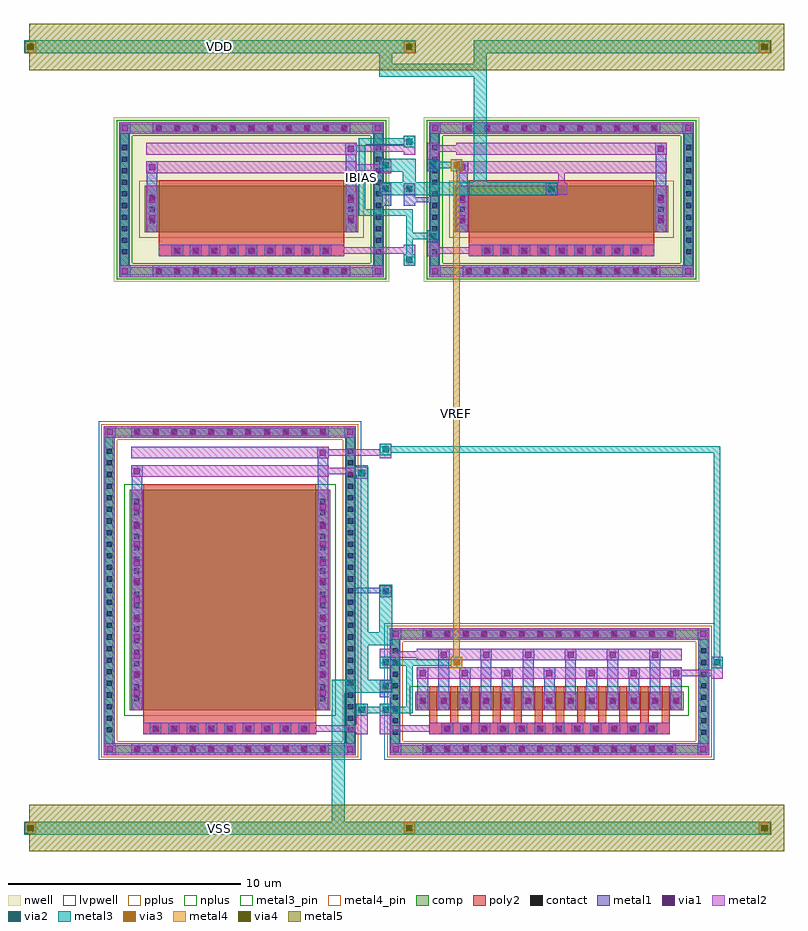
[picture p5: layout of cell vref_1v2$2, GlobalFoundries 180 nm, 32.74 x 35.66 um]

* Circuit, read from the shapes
.subckt vref_1v2$2 IBIAS VDD VREF VSS
XM1 n1 VREF VSS VSS nfet_03v3 w=9.5u l=7.45u
XM2 VREF VREF n1 VSS nfet_03v3 w=0.8u l=0.35u m=12
XM3 IBIAS IBIAS VDD VDD pfet_03v3 w=2u l=8u
XM4 VREF IBIAS VDD VDD pfet_03v3 w=2u l=8u
.ends

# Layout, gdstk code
import gdstk
lib = gdstk.Library(unit=1e-6, precision=1e-09)
def R(c, l, rs):  # rectangles x0, y0, x1, y1
    for r in rs: c.add(gdstk.rectangle(r[:2], r[2:], *l))
def A(c, l, x, y, w, h, nx, ny, dx, dy):  # array of equal rectangles
    R(c, l, [(x+i*dx, y+j*dy, x+i*dx+w, y+j*dy+h) for i in range(nx) for j in range(ny)])
def P(c, l, *ps):  # polygons
    for p in ps: c.add(gdstk.Polygon(p, *l))
nwell = (21, 0)
comp = (22, 0)
poly2 = (30, 0)
pplus = (31, 0)
nplus = (32, 0)
contact = (33, 0)
metal1 = (34, 0)
via1 = (35, 0)
metal2 = (36, 0)
via2 = (38, 0)
via3 = (40, 0)
via4 = (41, 0)
metal3 = (42, 0)
metal3_pin = (42, 10)
metal4 = (46, 0)
metal4_pin = (46, 10)
metal5 = (81, 0)
lvpwell = (204, 0)

vref_1v2_2 = lib.new_cell('vref_1v2$2')
R(vref_1v2_2, nwell, [(-12.61,20.59,-0.75,27.68), (0.75,20.59,12.61,27.68)])
A(vref_1v2_2, comp, -11.79, 0.28, 0.36, 0.36, 11, 2, 0.8, 13.67)
A(vref_1v2_2, comp, 0.775, 0.28, 0.36, 0.36, 14, 2, 0.8, 4.97)
A(vref_1v2_2, comp, -0.675, 1.015, 0.36, 0.36, 1, 8, 0, 0.5)
A(vref_1v2_2, comp, 12.625, 1.015, 0.36, 0.36, 1, 8, 0, 0.5)
A(vref_1v2_2, comp, -12.985, 1.115, 0.36, 0.36, 1, 25, 0, 0.5)
A(vref_1v2_2, comp, -2.595, 1.115, 0.36, 0.36, 1, 25, 0, 0.5)
A(vref_1v2_2, comp, -10.86, 20.87, 0.36, 0.36, 11, 2, 0.8, 6.17)
A(vref_1v2_2, comp, 2.5, 20.87, 0.36, 0.36, 11, 2, 0.8, 6.17)
A(vref_1v2_2, comp, -12.33, 21.705, 0.36, 0.36, 1, 10, 0, 0.5)
A(vref_1v2_2, comp, -1.39, 21.705, 0.36, 0.36, 1, 10, 0, 0.5)
A(vref_1v2_2, comp, 1.03, 21.705, 0.36, 0.36, 1, 10, 0, 0.5)
A(vref_1v2_2, comp, 11.97, 21.705, 0.36, 0.36, 1, 10, 0, 0.5)
R(vref_1v2_2, comp, [(-11.79,0.28,-3.43,0.64), (0.775,0.28,11.535,0.64), (-0.675,1.015,-0.315,4.875), (12.625,1.015,12.985,4.875), (-12.985,1.115,-12.625,13.475), (-2.595,1.115,-2.235,13.475), (-11.935,2.14,-3.285,11.64), (0.375,2.14,11.935,2.94), (0.775,5.25,11.535,5.61), (-11.79,13.95,-3.43,14.31), (-10.86,20.87,-2.5,21.23), (2.5,20.87,10.86,21.23), (-12.33,21.705,-11.97,26.565), (-1.39,21.705,-1.03,26.565), (1.03,21.705,1.39,26.565), (11.97,21.705,12.33,26.565), (-11.28,22.73,-2.08,24.73), (2.08,22.73,11.28,24.73), (-10.86,27.04,-2.5,27.4), (2.5,27.04,10.86,27.4)])
P(vref_1v2_2, comp, [(-12.33,20.87),(-12.33,21.23),(-1.39,21.23),(-1.39,27.04),(-11.97,27.04),(-11.97,21.23),(-12.33,21.23),(-12.33,27.4),(-1.03,27.4),(-1.03,20.87)],
  [(-12.985,0.28),(-12.985,0.64),(-2.595,0.64),(-2.595,13.95),(-12.625,13.95),(-12.625,0.64),(-12.985,0.64),(-12.985,14.31),(-2.235,14.31),(-2.235,0.28)],
  [(-0.675,0.28),(-0.675,0.64),(12.625,0.64),(12.625,5.25),(-0.315,5.25),(-0.315,0.64),(-0.675,0.64),(-0.675,5.61),(12.985,5.61),(12.985,0.28)],
  [(1.03,20.87),(1.03,21.23),(11.97,21.23),(11.97,27.04),(1.39,27.04),(1.39,21.23),(1.03,21.23),(1.03,27.4),(12.33,27.4),(12.33,20.87)])
A(vref_1v2_2, poly2, -10.99, 1.17, 0.36, 0.36, 9, 1, 0.8, 0)
A(vref_1v2_2, poly2, 1.575, 1.17, 0.36, 0.36, 12, 1, 0.8, 0)
A(vref_1v2_2, poly2, 0.975, 1.6, 0.35, 0.3, 12, 1, 0.91, 0)
A(vref_1v2_2, poly2, 0.975, 1.9, 0.35, 1.28, 12, 1, 0.91, 0)
A(vref_1v2_2, poly2, -10.06, 21.76, 0.36, 0.36, 9, 1, 0.8, 0)
A(vref_1v2_2, poly2, 3.3, 21.76, 0.36, 0.36, 9, 1, 0.8, 0)
R(vref_1v2_2, poly2, [(-11.335,1.1,-3.885,1.6), (0.975,1.1,11.335,1.6), (-11.335,1.6,-3.885,1.9), (-11.335,1.9,-3.885,11.88), (-10.68,21.69,-2.68,22.19), (2.68,21.69,10.68,22.19), (-10.68,22.19,-2.68,22.49), (2.68,22.19,10.68,22.49), (-10.68,22.49,-2.68,24.97), (2.68,22.49,10.68,24.97)])
R(vref_1v2_2, pplus, [(-11.51,22.5,-1.85,24.96), (1.85,22.5,11.51,24.96)])
P(vref_1v2_2, pplus, [(-13.145,0.12),(-13.145,0.8),(-2.755,0.8),(-2.755,13.79),(-12.465,13.79),(-12.465,0.8),(-13.145,0.8),(-13.145,14.47),(-2.075,14.47),(-2.075,0.12)],
  [(-0.835,0.12),(-0.835,0.8),(12.465,0.8),(12.465,5.09),(-0.155,5.09),(-0.155,0.8),(-0.835,0.8),(-0.835,5.77),(13.145,5.77),(13.145,0.12)])
R(vref_1v2_2, nplus, [(-12.165,1.91,-3.055,11.87), (0.145,1.91,12.165,3.17)])
P(vref_1v2_2, nplus, [(-12.49,20.71),(-12.49,21.39),(-1.55,21.39),(-1.55,26.88),(-11.81,26.88),(-11.81,21.39),(-12.49,21.39),(-12.49,27.56),(-0.87,27.56),(-0.87,20.71)],
  [(0.87,20.71),(0.87,21.39),(11.81,21.39),(11.81,26.88),(1.55,26.88),(1.55,21.39),(0.87,21.39),(0.87,27.56),(12.49,27.56),(12.49,20.71)])
A(vref_1v2_2, contact, -11.72, 0.35, 0.22, 0.22, 11, 2, 0.8, 13.67)
A(vref_1v2_2, contact, 0.845, 0.35, 0.22, 0.22, 14, 2, 0.8, 4.97)
A(vref_1v2_2, contact, -0.605, 1.085, 0.22, 0.22, 1, 8, 0, 0.5)
A(vref_1v2_2, contact, 12.695, 1.085, 0.22, 0.22, 1, 8, 0, 0.5)
A(vref_1v2_2, contact, -12.915, 1.185, 0.22, 0.22, 1, 25, 0, 0.5)
A(vref_1v2_2, contact, -2.525, 1.185, 0.22, 0.22, 1, 25, 0, 0.5)
A(vref_1v2_2, contact, -10.92, 1.24, 0.22, 0.22, 9, 1, 0.8, 0)
A(vref_1v2_2, contact, 1.645, 1.24, 0.22, 0.22, 12, 1, 0.8, 0)
A(vref_1v2_2, contact, 0.585, 2.43, 0.22, 0.22, 13, 1, 0.91, 0)
A(vref_1v2_2, contact, -11.725, 2.53, 0.22, 0.22, 1, 18, 0, 0.5)
A(vref_1v2_2, contact, -3.715, 2.53, 0.22, 0.22, 1, 18, 0, 0.5)
A(vref_1v2_2, contact, -10.79, 20.94, 0.22, 0.22, 11, 2, 0.8, 6.17)
A(vref_1v2_2, contact, 2.57, 20.94, 0.22, 0.22, 11, 2, 0.8, 6.17)
A(vref_1v2_2, contact, -12.26, 21.775, 0.22, 0.22, 1, 10, 0, 0.5)
A(vref_1v2_2, contact, -1.32, 21.775, 0.22, 0.22, 1, 10, 0, 0.5)
A(vref_1v2_2, contact, 1.1, 21.775, 0.22, 0.22, 1, 10, 0, 0.5)
A(vref_1v2_2, contact, 12.04, 21.775, 0.22, 0.22, 1, 10, 0, 0.5)
A(vref_1v2_2, contact, -9.99, 21.83, 0.22, 0.22, 9, 1, 0.8, 0)
A(vref_1v2_2, contact, 3.37, 21.83, 0.22, 0.22, 9, 1, 0.8, 0)
A(vref_1v2_2, contact, -11.07, 23.12, 0.22, 0.22, 1, 3, 0, 0.5)
A(vref_1v2_2, contact, -2.51, 23.12, 0.22, 0.22, 1, 3, 0, 0.5)
A(vref_1v2_2, contact, 2.29, 23.12, 0.22, 0.22, 1, 3, 0, 0.5)
A(vref_1v2_2, contact, 10.85, 23.12, 0.22, 0.22, 1, 3, 0, 0.5)
A(vref_1v2_2, metal1, -11.86, 0.21, 0.5, 0.5, 11, 2, 0.8, 13.67)
A(vref_1v2_2, metal1, 0.705, 0.21, 0.5, 0.5, 14, 2, 0.8, 4.97)
A(vref_1v2_2, metal1, -0.725, 0.965, 0.46, 0.46, 1, 8, 0, 0.5)
A(vref_1v2_2, metal1, 12.575, 0.965, 0.46, 0.46, 1, 8, 0, 0.5)
A(vref_1v2_2, metal1, -13.035, 1.065, 0.46, 0.46, 1, 25, 0, 0.5)
A(vref_1v2_2, metal1, -2.645, 1.065, 0.46, 0.46, 1, 25, 0, 0.5)
A(vref_1v2_2, metal1, -11.06, 1.1, 0.5, 0.5, 9, 1, 0.8, 0)
A(vref_1v2_2, metal1, 1.505, 1.1, 0.5, 0.5, 12, 1, 0.8, 0)
A(vref_1v2_2, metal1, 0.465, 2.14, 0.46, 0.8, 13, 1, 0.91, 0)
A(vref_1v2_2, metal1, 0.465, 2.31, 0.46, 0.46, 13, 1, 0.91, 0)
A(vref_1v2_2, metal1, -11.845, 2.41, 0.46, 0.46, 1, 18, 0, 0.5)
A(vref_1v2_2, metal1, -3.835, 2.41, 0.46, 0.46, 1, 18, 0, 0.5)
A(vref_1v2_2, metal1, -11.865, 2.64, 0.5, 0.5, 1, 11, 0, 0.8)
A(vref_1v2_2, metal1, -3.855, 2.64, 0.5, 0.5, 1, 11, 0, 0.8)
A(vref_1v2_2, metal1, 0.465, 2.94, 0.46, 1.05, 7, 1, 1.82, 0)
A(vref_1v2_2, metal1, 1.375, 2.94, 0.46, 1.85, 6, 1, 1.82, 0)
A(vref_1v2_2, metal1, 0.445, 3.49, 0.5, 0.5, 7, 1, 1.82, 0)
A(vref_1v2_2, metal1, 1.355, 4.29, 0.5, 0.5, 6, 1, 1.82, 0)
A(vref_1v2_2, metal1, -10.93, 20.8, 0.5, 0.5, 11, 2, 0.8, 6.17)
A(vref_1v2_2, metal1, 2.43, 20.8, 0.5, 0.5, 11, 2, 0.8, 6.17)
A(vref_1v2_2, metal1, -12.38, 21.655, 0.46, 0.46, 1, 10, 0, 0.5)
A(vref_1v2_2, metal1, -1.44, 21.655, 0.46, 0.46, 1, 10, 0, 0.5)
A(vref_1v2_2, metal1, 0.98, 21.655, 0.46, 0.46, 1, 10, 0, 0.5)
A(vref_1v2_2, metal1, 11.92, 21.655, 0.46, 0.46, 1, 10, 0, 0.5)
A(vref_1v2_2, metal1, -10.13, 21.69, 0.5, 0.5, 9, 1, 0.8, 0)
A(vref_1v2_2, metal1, 3.23, 21.69, 0.5, 0.5, 9, 1, 0.8, 0)
A(vref_1v2_2, metal1, -11.19, 23, 0.46, 0.46, 1, 3, 0, 0.5)
A(vref_1v2_2, metal1, -2.63, 23, 0.46, 0.46, 1, 3, 0, 0.5)
A(vref_1v2_2, metal1, 2.17, 23, 0.46, 0.46, 1, 3, 0, 0.5)
A(vref_1v2_2, metal1, 10.73, 23, 0.46, 0.46, 1, 3, 0, 0.5)
R(vref_1v2_2, metal1, [(-13.035,0.21,-12.535,0.71), (-13.035,0.21,-12.535,0.71), (-13.035,0.21,-12.575,0.64), (-11.86,0.21,-3.36,0.71), (-2.685,0.21,-2.185,0.71), (-2.685,0.21,-2.185,0.71), (-2.645,0.21,-2.185,0.64), (-0.725,0.21,-0.225,0.71), (-0.725,0.21,-0.225,0.71), (-0.725,0.21,-0.265,0.64), (0.705,0.21,11.605,0.71), (12.535,0.21,13.035,0.71), (12.535,0.21,13.035,0.71), (12.575,0.21,13.035,0.64), (-13.035,0.64,-12.575,13.95), (-2.645,0.64,-2.185,13.95), (-0.725,0.64,-0.265,5.25), (12.575,0.64,13.035,5.25), (-11.845,2.14,-11.385,11.64), (-3.835,2.14,-3.375,11.64), (0.445,2.29,0.945,2.79), (0.445,2.29,0.945,2.79), (1.355,2.29,1.855,2.79), (1.355,2.29,1.855,2.79), (2.265,2.29,2.765,2.79), (2.265,2.29,2.765,2.79), (3.175,2.29,3.675,2.79), (3.175,2.29,3.675,2.79), (4.085,2.29,4.585,2.79), (4.085,2.29,4.585,2.79), (4.995,2.29,5.495,2.79), (4.995,2.29,5.495,2.79), (5.905,2.29,6.405,2.79), (5.905,2.29,6.405,2.79), (6.815,2.29,7.315,2.79), (6.815,2.29,7.315,2.79), (7.725,2.29,8.225,2.79), (7.725,2.29,8.225,2.79), (8.635,2.29,9.135,2.79), (8.635,2.29,9.135,2.79), (9.545,2.29,10.045,2.79), (9.545,2.29,10.045,2.79), (10.455,2.29,10.955,2.79), (10.455,2.29,10.955,2.79), (11.365,2.29,11.865,2.79), (11.365,2.29,11.865,2.79), (-0.725,2.425,-0.65,2.69), (-11.865,2.64,-11.365,11.14), (-3.855,2.64,-3.355,11.14), (-1.15,2.69,-0.65,3.43), (-1.015,2.825,-0.605,3.055), (-1.15,2.93,-0.65,3.43), (-0.725,3.43,-0.65,3.465), (-0.725,5.18,-0.225,5.68), (-0.725,5.18,-0.225,5.68), (0.705,5.18,11.605,5.68), (12.535,5.18,13.035,5.68), (12.535,5.18,13.035,5.68), (-0.725,5.25,-0.265,5.68), (12.575,5.25,13.035,5.68), (-1.15,7.01,-0.65,7.51), (-1.15,7.01,-0.65,7.55), (-2.305,7.025,-2.185,7.185), (-2.305,7.185,-0.785,7.415), (-2.305,7.415,-2.185,7.565), (-11.845,11.64,-11.385,12.69), (-3.835,11.64,-3.375,13.49), (-11.865,12.19,-11.365,12.69), (-3.855,12.99,-3.355,13.49), (-13.035,13.88,-12.535,14.38), (-13.035,13.88,-12.535,14.38), (-11.86,13.88,-3.36,14.38), (-2.685,13.88,-2.185,14.38), (-2.685,13.88,-2.185,14.38), (-13.035,13.95,-12.575,14.38), (-2.645,13.95,-2.185,14.38), (-12.38,20.8,-11.88,21.3), (-12.38,20.8,-11.88,21.3), (-12.38,20.8,-11.92,21.23), (-10.93,20.8,-2.43,21.3), (-1.48,20.8,-0.98,21.3), (-1.48,20.8,-0.98,21.3), (-1.44,20.8,-0.98,21.23), (0.98,20.8,1.48,21.3), (0.98,20.8,1.48,21.3), (0.98,20.8,1.44,21.23), (2.43,20.8,10.93,21.3), (11.88,20.8,12.38,21.3), (11.88,20.8,12.38,21.3), (11.92,20.8,12.38,21.23), (-12.38,21.23,-11.92,27.04), (-1.44,21.23,-0.98,27.04), (0.98,21.23,1.44,27.04), (11.92,21.23,12.38,27.04), (-11.19,22.73,-10.73,24.73), (-2.63,22.73,-2.17,24.73), (2.17,22.73,2.63,24.73), (10.73,22.73,11.19,24.73), (-11.21,23.08,-10.71,23.58), (-11.21,23.08,-10.71,24.38), (-2.65,23.08,-2.15,23.58), (-2.65,23.08,-2.15,24.38), (2.15,23.08,2.65,23.58), (2.15,23.08,2.65,24.38), (10.71,23.08,11.21,23.58), (10.71,23.08,11.21,24.38), (-1.15,23.615,-0.98,23.88), (-11.21,23.88,-10.71,24.38), (-2.65,23.88,-2.15,24.38), (-1.15,23.88,-0.65,24.85), (-0.13,23.88,0.37,24.85), (2.15,23.88,2.65,24.38), (10.71,23.88,11.21,24.38), (-1.095,24.015,-0.785,24.245), (0.005,24.015,1.095,24.245), (-1.15,24.35,-0.65,24.85), (-0.13,24.35,0.37,24.85), (-11.19,24.73,-10.73,25.78), (-2.63,24.73,-2.17,26.58), (2.17,24.73,2.63,25.78), (10.73,24.73,11.19,26.58), (-11.21,25.28,-10.71,25.78), (2.15,25.28,2.65,25.78), (-2.65,26.08,-2.15,26.58), (10.71,26.08,11.21,26.58), (-12.38,26.97,-11.88,27.47), (-12.38,26.97,-11.88,27.47), (-10.93,26.97,-2.43,27.47), (-1.48,26.97,-0.98,27.47), (-1.48,26.97,-0.98,27.47), (0.98,26.97,1.48,27.47), (0.98,26.97,1.48,27.47), (2.43,26.97,10.93,27.47), (11.88,26.97,12.38,27.47), (11.88,26.97,12.38,27.47), (-12.38,27.04,-11.92,27.47), (-1.44,27.04,-0.98,27.47), (0.98,27.04,1.44,27.47), (11.92,27.04,12.38,27.47)])
A(vref_1v2_2, via1, -11.74, 0.33, 0.26, 0.26, 11, 2, 0.8, 13.67)
A(vref_1v2_2, via1, 0.825, 0.33, 0.26, 0.26, 14, 2, 0.8, 4.97)
A(vref_1v2_2, via1, -10.94, 1.22, 0.26, 0.26, 9, 1, 0.8, 0)
A(vref_1v2_2, via1, 1.625, 1.22, 0.26, 0.26, 12, 1, 0.8, 0)
A(vref_1v2_2, via1, 0.565, 2.41, 0.26, 0.26, 13, 1, 0.91, 0)
A(vref_1v2_2, via1, -11.745, 2.76, 0.26, 0.26, 1, 11, 0, 0.8)
A(vref_1v2_2, via1, -3.735, 2.76, 0.26, 0.26, 1, 11, 0, 0.8)
A(vref_1v2_2, via1, 0.565, 3.61, 0.26, 0.26, 7, 1, 1.82, 0)
A(vref_1v2_2, via1, 1.475, 4.41, 0.26, 0.26, 6, 1, 1.82, 0)
A(vref_1v2_2, via1, -10.81, 20.92, 0.26, 0.26, 11, 2, 0.8, 6.17)
A(vref_1v2_2, via1, 2.55, 20.92, 0.26, 0.26, 11, 2, 0.8, 6.17)
A(vref_1v2_2, via1, -10.01, 21.81, 0.26, 0.26, 9, 1, 0.8, 0)
A(vref_1v2_2, via1, 3.35, 21.81, 0.26, 0.26, 9, 1, 0.8, 0)
R(vref_1v2_2, via1, [(-12.915,0.33,-12.655,0.59), (-2.565,0.33,-2.305,0.59), (-0.605,0.33,-0.345,0.59), (12.655,0.33,12.915,0.59), (-1.03,3.05,-0.77,3.31), (-0.605,5.3,-0.345,5.56), (12.655,5.3,12.915,5.56), (-1.03,7.13,-0.77,7.39), (-11.745,12.31,-11.485,12.57), (-3.735,13.11,-3.475,13.37), (-12.915,14,-12.655,14.26), (-2.565,14,-2.305,14.26), (-12.26,20.92,-12,21.18), (-1.36,20.92,-1.1,21.18), (1.1,20.92,1.36,21.18), (12,20.92,12.26,21.18), (-11.09,23.2,-10.83,23.46), (-2.53,23.2,-2.27,23.46), (2.27,23.2,2.53,23.46), (10.83,23.2,11.09,23.46), (-11.09,24,-10.83,24.26), (-2.53,24,-2.27,24.26), (2.27,24,2.53,24.26), (10.83,24,11.09,24.26), (-1.03,24.47,-0.77,24.73), (-0.01,24.47,0.25,24.73), (-11.09,25.4,-10.83,25.66), (2.27,25.4,2.53,25.66), (-2.53,26.2,-2.27,26.46), (10.83,26.2,11.09,26.46), (-12.26,27.09,-12,27.35), (-1.36,27.09,-1.1,27.35), (1.1,27.09,1.36,27.35), (12,27.09,12.26,27.35)])
A(vref_1v2_2, metal2, -11.86, 0.21, 0.5, 0.5, 11, 2, 0.8, 13.67)
A(vref_1v2_2, metal2, 0.705, 0.21, 0.5, 0.5, 14, 2, 0.8, 4.97)
A(vref_1v2_2, metal2, -11.06, 1.1, 0.5, 0.5, 9, 1, 0.8, 0)
A(vref_1v2_2, metal2, 1.505, 1.1, 0.5, 0.5, 12, 1, 0.8, 0)
A(vref_1v2_2, metal2, -1.15, 1.91, 0.5, 0.5, 1, 3, 0, 1.02)
A(vref_1v2_2, metal2, 0.445, 2.14, 0.5, 0.8, 13, 1, 0.91, 0)
A(vref_1v2_2, metal2, 0.445, 2.29, 0.5, 0.5, 13, 1, 0.91, 0)
A(vref_1v2_2, metal2, -11.865, 2.64, 0.5, 0.5, 1, 11, 0, 0.8)
A(vref_1v2_2, metal2, -3.855, 2.64, 0.5, 0.5, 1, 11, 0, 0.8)
A(vref_1v2_2, metal2, 0.445, 3.49, 0.5, 0.5, 7, 1, 1.82, 0)
A(vref_1v2_2, metal2, 1.355, 4.29, 0.5, 0.5, 6, 1, 1.82, 0)
A(vref_1v2_2, metal2, -10.93, 20.8, 0.5, 0.5, 11, 2, 0.8, 6.17)
A(vref_1v2_2, metal2, 2.43, 20.8, 0.5, 0.5, 11, 2, 0.8, 6.17)
A(vref_1v2_2, metal2, -10.13, 21.69, 0.5, 0.5, 9, 1, 0.8, 0)
A(vref_1v2_2, metal2, 3.23, 21.69, 0.5, 0.5, 9, 1, 0.8, 0)
R(vref_1v2_2, metal2, [(-13.035,0.21,-12.535,0.71), (-13.035,0.21,-12.535,0.71), (-13.035,0.21,-12.625,0.71), (-12.625,0.21,-2.595,0.71), (-2.685,0.21,-2.185,0.71), (-2.685,0.21,-2.185,0.71), (-2.595,0.21,-2.185,0.71), (-0.725,0.21,-0.225,0.71), (-0.725,0.21,-0.225,0.71), (-0.725,0.21,-0.315,0.71), (-0.315,0.21,12.625,0.71), (12.535,0.21,13.035,0.71), (12.535,0.21,13.035,0.71), (12.625,0.21,13.035,0.71), (-11.335,1.1,-3.885,1.6), (-2.17,1.1,-1.67,2.41), (-1.15,1.1,-0.65,2.41), (0.975,1.1,11.335,1.6), (-4.16,1.21,-4.02,1.49), (-4.02,1.21,-1.78,1.49), (-1.04,1.21,1.12,1.49), (-2.17,1.91,-1.67,2.41), (-11.865,2.14,-11.365,11.64), (-3.855,2.14,-3.355,11.64), (0.445,3.49,11.865,3.99), (13.13,3.49,13.63,4.45), (11.72,3.6,13.52,3.88), (-1.15,3.95,-0.65,4.79), (13.13,3.95,13.63,4.45), (0.445,4.29,11.865,4.79), (-1.04,4.4,0.59,4.68), (-0.725,5.18,-0.225,5.68), (-0.725,5.18,-0.225,5.68), (-0.725,5.18,-0.315,5.68), (-0.315,5.18,12.625,5.68), (12.535,5.18,13.035,5.68), (12.535,5.18,13.035,5.68), (12.625,5.18,13.035,5.68), (-1.15,7.01,-0.65,7.51), (-2.17,12.11,-1.67,12.61), (-2.17,12.11,-1.67,12.69), (-11.865,12.19,-11.365,12.69), (-11.865,12.19,-3.355,12.69), (-3.5,12.3,-1.78,12.58), (-11.865,12.99,-3.355,13.49), (-3.855,12.99,-3.355,13.49), (-1.15,12.99,-0.65,13.63), (-3.5,13.1,-0.76,13.38), (-1.15,13.13,-0.65,13.63), (-13.035,13.88,-12.535,14.38), (-13.035,13.88,-12.535,14.38), (-13.035,13.88,-12.625,14.38), (-12.625,13.88,-2.595,14.38), (-2.685,13.88,-2.185,14.38), (-2.685,13.88,-2.185,14.38), (-2.595,13.88,-2.185,14.38), (-12.38,20.8,-11.88,21.3), (-12.38,20.8,-11.88,21.3), (-12.38,20.8,-11.97,21.3), (-11.97,20.8,-1.39,21.3), (-1.48,20.8,-0.98,21.3), (-1.48,20.8,-0.98,21.3), (-1.39,20.8,-0.98,21.3), (0.98,20.8,1.48,21.3), (0.98,20.8,1.48,21.3), (0.98,20.8,1.39,21.3), (1.39,20.8,11.97,21.3), (11.88,20.8,12.38,21.3), (11.88,20.8,12.38,21.3), (11.97,20.8,12.38,21.3), (-0.13,21.29,0.37,22.19), (-0.13,21.29,0.37,21.79), (-10.68,21.69,-2.68,22.19), (0.89,21.69,1.39,22.81), (2.68,21.69,10.68,22.19), (-2.82,21.8,0.26,22.08), (1,21.8,2.82,22.08), (0.89,22.31,1.39,22.81), (-11.21,22.73,-10.71,24.73), (-2.65,22.73,-2.15,24.73), (2.15,22.73,2.65,24.73), (10.71,22.73,11.21,24.73), (-11.21,23.08,-10.71,23.58), (-2.65,23.08,-2.15,23.58), (2.15,23.08,2.65,23.58), (10.71,23.08,11.21,23.58), (-11.21,23.88,-10.71,24.38), (-2.65,23.88,-2.15,24.38), (2.15,23.88,2.65,24.38), (10.71,23.88,11.21,24.38), (-1.15,24.35,-0.65,24.85), (-0.13,24.35,0.37,24.85), (5.99,24.35,6.49,24.85), (5.99,24.35,6.93,24.85), (6.54,24.46,6.82,25.42), (-11.21,25.28,-10.71,25.78), (-11.21,25.28,-2.15,25.78), (-1.15,25.28,-0.65,25.87), (2.15,25.28,2.65,25.78), (2.15,25.28,11.21,25.78), (-1.15,25.37,-0.65,25.87), (0.89,25.37,1.39,25.87), (0.89,25.37,1.39,26.58), (-2.29,25.39,-0.76,25.67), (-11.21,26.08,-2.15,26.58), (-2.65,26.08,-2.15,26.58), (-0.13,26.08,0.37,26.89), (2.15,26.08,11.21,26.58), (10.71,26.08,11.21,26.58), (-2.29,26.19,0.26,26.47), (1,26.19,2.29,26.47), (-0.13,26.39,0.37,26.89), (-12.38,26.97,-11.88,27.47), (-12.38,26.97,-11.88,27.47), (-12.38,26.97,-11.97,27.47), (-11.97,26.97,-1.39,27.47), (-1.48,26.97,-0.98,27.47), (-1.48,26.97,-0.98,27.47), (-1.39,26.97,-0.98,27.47), (0.98,26.97,1.48,27.47), (0.98,26.97,1.48,27.47), (0.98,26.97,1.39,27.47), (1.39,26.97,11.97,27.47), (11.88,26.97,12.38,27.47), (11.88,26.97,12.38,27.47), (11.97,26.97,12.38,27.47)])
A(vref_1v2_2, via2, -1.03, 2.03, 0.26, 0.26, 1, 3, 0, 1.02)
R(vref_1v2_2, via2, [(-2.05,2.03,-1.79,2.29), (13.25,4.07,13.51,4.33), (-1.03,7.13,-0.77,7.39), (-2.05,12.23,-1.79,12.49), (-1.03,13.25,-0.77,13.51), (-0.01,21.41,0.25,21.67), (1.01,22.43,1.27,22.69), (-1.03,24.47,-0.77,24.73), (-0.01,24.47,0.25,24.73), (6.11,24.47,6.37,24.73), (-1.03,25.49,-0.77,25.75), (1.01,25.49,1.27,25.75), (-0.01,26.51,0.25,26.77)])
R(vref_1v2_2, via3, [(-16.33,-3.07,-16.07,-2.81), (-0.01,-3.07,0.25,-2.81), (15.29,-3.07,15.55,-2.81), (2.03,4.07,2.29,4.33), (2.03,25.49,2.29,25.75), (-16.33,30.59,-16.07,30.85), (-0.01,30.59,0.25,30.85), (15.29,30.59,15.55,30.85)])
R(vref_1v2_2, via4, [(-16.33,-3.07,-16.07,-2.81), (-0.01,-3.07,0.25,-2.81), (15.29,-3.07,15.55,-2.81), (-16.33,30.59,-16.07,30.85), (-0.01,30.59,0.25,30.85), (15.29,30.59,15.55,30.85)])
A(vref_1v2_2, metal3, -1.15, 1.91, 0.5, 0.5, 1, 3, 0, 1.02)
R(vref_1v2_2, metal3, [(-16.48,-3.22,0.4,-2.66), (-3.22,-3.22,-2.66,3.46), (-0.16,-3.22,15.7,-2.66), (-16.45,-3.19,-15.95,-2.69), (-0.13,-3.19,0.37,-2.69), (15.17,-3.19,15.67,-2.69), (-2.17,1.91,-1.67,2.41), (-2.06,2.02,-0.76,2.3), (-1.04,2.02,0.26,2.3), (-0.02,2.02,0.26,4.34), (-3.22,2.9,-0.62,3.46), (-2.2,2.9,-1.64,5.5), (1.91,3.95,2.41,4.45), (13.13,3.95,13.63,4.45), (-1.04,4.06,2.3,4.34), (13.24,4.06,13.52,13.52), (-2.2,4.94,-0.62,5.5), (-2.2,4.94,-1.64,12.64), (-1.18,4.94,-0.62,7.54), (-1.15,7.01,-0.65,7.51), (-2.17,12.11,-1.67,12.61), (-1.15,13.13,-0.65,13.63), (-1.04,13.24,13.52,13.52), (-0.13,21.29,0.37,21.79), (-0.02,21.4,0.26,23.72), (0.89,22.31,1.39,22.81), (-0.02,22.42,1.28,22.7), (-2.06,23.44,0.26,23.72), (-2.06,23.44,-1.78,26.78), (-1.18,24.32,0.4,24.88), (-0.16,24.32,0.4,25.9), (-0.16,24.32,3.46,24.88), (2.9,24.32,6.52,24.88), (2.9,24.32,3.46,29.98), (-1.15,24.35,-0.65,24.85), (-0.13,24.35,0.37,24.85), (5.99,24.35,6.49,24.85), (-1.18,25.34,0.4,25.9), (-1.15,25.37,-0.65,25.87), (0.89,25.37,1.39,25.87), (1.91,25.37,2.41,25.87), (1,25.48,2.3,25.76), (-0.13,26.39,0.37,26.89), (-2.06,26.5,0.26,26.78), (-1.18,29.42,-0.62,31), (-1.18,29.42,3.46,29.98), (2.9,29.42,3.46,31), (-16.48,30.44,0.4,31), (2.9,30.44,15.7,31), (-16.45,30.47,-15.95,30.97), (-0.13,30.47,0.37,30.97), (15.17,30.47,15.67,30.97)])
R(vref_1v2_2, metal3_pin, [(-8.32,-3.22,-7.76,-2.66), (-2.06,24.97,-1.78,25.25), (-8.32,30.44,-7.76,31)])
R(vref_1v2_2, metal4, [(-16.45,-3.19,-15.95,-2.69), (-0.13,-3.19,0.37,-2.69), (15.17,-3.19,15.67,-2.69), (1.91,3.95,2.41,4.45), (2.02,4.06,2.3,25.76), (1.91,25.37,2.41,25.87), (-16.45,30.47,-15.95,30.97), (-0.13,30.47,0.37,30.97), (15.17,30.47,15.67,30.97)])
R(vref_1v2_2, metal4_pin, [(2.02,14.77,2.3,15.05)])
R(vref_1v2_2, metal5, [(-16.26,-3.94,16.26,-1.94), (-16.45,-3.19,-15.95,-2.69), (-0.13,-3.19,0.37,-2.69), (15.17,-3.19,15.67,-2.69), (-16.26,29.72,16.26,31.72), (-16.45,30.47,-15.95,30.97), (-0.13,30.47,0.37,30.97), (15.17,30.47,15.67,30.97)])
R(vref_1v2_2, lvpwell, [(-13.265,0,-1.955,14.59), (-0.955,0,13.265,5.89)])
vref_1v2_2.add(gdstk.Label('VREF', (2.16,14.91), layer=46, texttype=10))
vref_1v2_2.add(gdstk.Label('IBIAS', (-1.92,25.11), layer=42, texttype=10))
vref_1v2_2.add(gdstk.Label('VSS', (-8.04,-2.94), layer=42, texttype=10))
vref_1v2_2.add(gdstk.Label('VDD', (-8.04,30.72), layer=42, texttype=10))

lib.write_gds('vref_1v2_2.gds')
